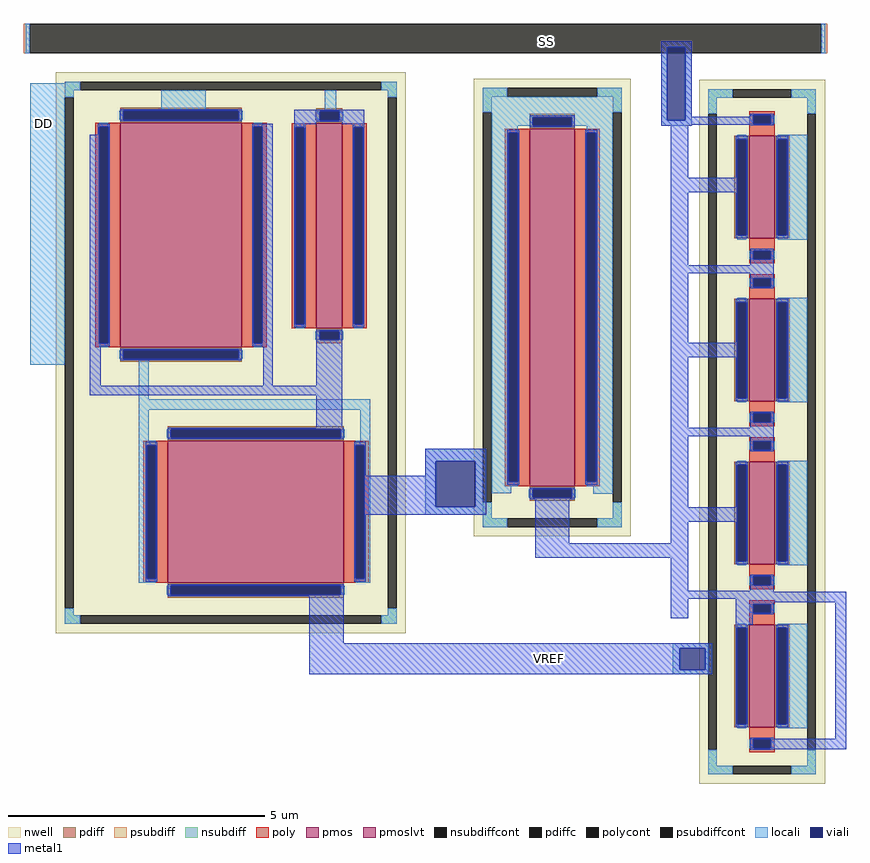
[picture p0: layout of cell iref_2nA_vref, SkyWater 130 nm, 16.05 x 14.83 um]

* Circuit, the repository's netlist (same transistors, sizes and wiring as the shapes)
* NGSPICE file created from iref_2nA_vref.ext - technology: sky130A


* Top level circuit iref_2nA_vref

X0 VREF SS SS VREF sky130_fd_pr__pfet_01v8 ad=0.58 pd=4.58 as=0.58 ps=4.58 w=2 l=0.5
X1 DD a_n1179_n2108# w_297_n2846# DD sky130_fd_pr__pfet_01v8 ad=0.687 pd=5.32 as=0.687 ps=5.32 w=2.37 l=4.38
X2 VREF SS SS VREF sky130_fd_pr__pfet_01v8 ad=0.58 pd=4.58 as=0.58 ps=4.58 w=2 l=0.5
X3 DD DD a_n1179_n2108# DD sky130_fd_pr__pfet_01v8_lvt ad=0.145 pd=1.58 as=0.145 ps=1.58 w=0.5 l=4
X4 a_n1179_n2108# w_297_n2846# VREF DD sky130_fd_pr__pfet_01v8_lvt ad=0.995 pd=7.44 as=0.995 ps=7.44 w=3.43 l=2.77
X5 VREF SS SS VREF sky130_fd_pr__pfet_01v8 ad=0.58 pd=4.58 as=0.58 ps=4.58 w=2 l=0.5
X6 w_297_n2846# w_297_n2846# SS w_297_n2846# sky130_fd_pr__pfet_01v8_lvt ad=0.255 pd=2.34 as=0.255 ps=2.34 w=0.88 l=6.97
X7 VREF SS SS VREF sky130_fd_pr__pfet_01v8 ad=0.58 pd=4.58 as=0.58 ps=4.58 w=2 l=0.5
.end

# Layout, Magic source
magic
tech sky130A
magscale 1 2
<< nwell >>
rect -1334 -3224 33 -1036
rect 297 -2846 911 -1060
rect 1177 -3811 1669 -1065
<< pmos >>
rect -1082 -2108 -608 -1232
rect 1373 -1684 1473 -1284
rect 1373 -2320 1473 -1920
rect 1373 -2956 1473 -2556
rect 1373 -3592 1473 -3192
<< pmoslvt >>
rect -316 -2034 -216 -1234
rect -896 -3028 -210 -2474
rect 516 -2650 692 -1256
<< pdiff >>
rect -1082 -1186 -608 -1174
rect -1082 -1220 -1070 -1186
rect -620 -1220 -608 -1186
rect -1082 -1232 -608 -1220
rect -316 -1188 -216 -1176
rect -316 -1222 -304 -1188
rect -228 -1222 -216 -1188
rect -316 -1234 -216 -1222
rect -316 -2046 -216 -2034
rect -316 -2080 -304 -2046
rect -228 -2080 -216 -2046
rect -316 -2092 -216 -2080
rect -1082 -2120 -608 -2108
rect -1082 -2154 -1070 -2120
rect -620 -2154 -608 -2120
rect -1082 -2166 -608 -2154
rect -896 -2428 -210 -2416
rect -896 -2462 -884 -2428
rect -222 -2462 -210 -2428
rect -896 -2474 -210 -2462
rect -896 -3040 -210 -3028
rect -896 -3074 -884 -3040
rect -222 -3074 -210 -3040
rect -896 -3086 -210 -3074
rect 516 -1210 692 -1198
rect 516 -1244 528 -1210
rect 680 -1244 692 -1210
rect 516 -1256 692 -1244
rect 516 -2662 692 -2650
rect 516 -2696 528 -2662
rect 680 -2696 692 -2662
rect 516 -2708 692 -2696
rect 1315 -1296 1373 -1284
rect 1315 -1672 1327 -1296
rect 1361 -1672 1373 -1296
rect 1315 -1684 1373 -1672
rect 1473 -1296 1531 -1284
rect 1473 -1672 1485 -1296
rect 1519 -1672 1531 -1296
rect 1473 -1684 1531 -1672
rect 1315 -1932 1373 -1920
rect 1315 -2308 1327 -1932
rect 1361 -2308 1373 -1932
rect 1315 -2320 1373 -2308
rect 1473 -1932 1531 -1920
rect 1473 -2308 1485 -1932
rect 1519 -2308 1531 -1932
rect 1473 -2320 1531 -2308
rect 1315 -2568 1373 -2556
rect 1315 -2944 1327 -2568
rect 1361 -2944 1373 -2568
rect 1315 -2956 1373 -2944
rect 1473 -2568 1531 -2556
rect 1473 -2944 1485 -2568
rect 1519 -2944 1531 -2568
rect 1473 -2956 1531 -2944
rect 1315 -3204 1373 -3192
rect 1315 -3580 1327 -3204
rect 1361 -3580 1373 -3204
rect 1315 -3592 1373 -3580
rect 1473 -3204 1531 -3192
rect 1473 -3580 1485 -3204
rect 1519 -3580 1531 -3204
rect 1473 -3592 1531 -3580
<< pdiffc >>
rect -1070 -1220 -620 -1186
rect -304 -1222 -228 -1188
rect -304 -2080 -228 -2046
rect -1070 -2154 -620 -2120
rect -884 -2462 -222 -2428
rect -884 -3074 -222 -3040
rect 528 -1244 680 -1210
rect 528 -2696 680 -2662
rect 1327 -1672 1361 -1296
rect 1485 -1672 1519 -1296
rect 1327 -2308 1361 -1932
rect 1485 -2308 1519 -1932
rect 1327 -2944 1361 -2568
rect 1485 -2944 1519 -2568
rect 1327 -3580 1361 -3204
rect 1485 -3580 1519 -3204
<< psubdiff >>
rect -1459 -962 -1435 -845
rect 1653 -962 1677 -845
<< nsubdiff >>
rect -1298 -1106 -1238 -1072
rect -63 -1106 -3 -1072
rect -1298 -1132 -1264 -1106
rect -37 -1132 -3 -1106
rect -1298 -3154 -1264 -3128
rect 333 -1130 429 -1096
rect 779 -1130 875 -1096
rect 333 -1192 367 -1130
rect 841 -1192 875 -1130
rect 333 -2776 367 -2714
rect 841 -2776 875 -2714
rect 333 -2810 429 -2776
rect 779 -2810 875 -2776
rect 1213 -1135 1309 -1101
rect 1537 -1135 1633 -1101
rect 1213 -1197 1247 -1135
rect -37 -3154 -3 -3128
rect -1298 -3188 -1238 -3154
rect -63 -3188 -3 -3154
rect 1599 -1197 1633 -1135
rect 1213 -3741 1247 -3679
rect 1599 -3741 1633 -3679
rect 1213 -3775 1309 -3741
rect 1537 -3775 1633 -3741
<< psubdiffcont >>
rect -1435 -962 1653 -845
<< nsubdiffcont >>
rect -1238 -1106 -63 -1072
rect -1298 -3128 -1264 -1132
rect -37 -3128 -3 -1132
rect 429 -1130 779 -1096
rect 333 -2714 367 -1192
rect 841 -2714 875 -1192
rect 429 -2810 779 -2776
rect 1309 -1135 1537 -1101
rect -1238 -3188 -63 -3154
rect 1213 -3679 1247 -1197
rect 1599 -3679 1633 -1197
rect 1309 -3775 1537 -3741
<< poly >>
rect -1179 -1248 -1082 -1232
rect -1179 -2092 -1163 -1248
rect -1129 -2092 -1082 -1248
rect -1179 -2108 -1082 -2092
rect -608 -1248 -511 -1232
rect -608 -2092 -561 -1248
rect -527 -2092 -511 -1248
rect -413 -1250 -316 -1234
rect -413 -2018 -397 -1250
rect -363 -2018 -316 -1250
rect -413 -2034 -316 -2018
rect -216 -1250 -119 -1234
rect -216 -2018 -169 -1250
rect -135 -2018 -119 -1250
rect -216 -2034 -119 -2018
rect -608 -2108 -511 -2092
rect -993 -2490 -896 -2474
rect -993 -3012 -977 -2490
rect -943 -3012 -896 -2490
rect -993 -3028 -896 -3012
rect -210 -2490 -113 -2474
rect -210 -3012 -163 -2490
rect -129 -3012 -113 -2490
rect -210 -3028 -113 -3012
rect 419 -1272 516 -1256
rect 419 -2634 435 -1272
rect 469 -2634 516 -1272
rect 419 -2650 516 -2634
rect 692 -1272 789 -1256
rect 692 -2634 739 -1272
rect 773 -2634 789 -1272
rect 692 -2650 789 -2634
rect 1373 -1203 1473 -1187
rect 1373 -1237 1389 -1203
rect 1457 -1237 1473 -1203
rect 1373 -1284 1473 -1237
rect 1373 -1731 1473 -1684
rect 1373 -1765 1389 -1731
rect 1457 -1765 1473 -1731
rect 1373 -1781 1473 -1765
rect 1373 -1839 1473 -1823
rect 1373 -1873 1389 -1839
rect 1457 -1873 1473 -1839
rect 1373 -1920 1473 -1873
rect 1373 -2367 1473 -2320
rect 1373 -2401 1389 -2367
rect 1457 -2401 1473 -2367
rect 1373 -2417 1473 -2401
rect 1373 -2475 1473 -2459
rect 1373 -2509 1389 -2475
rect 1457 -2509 1473 -2475
rect 1373 -2556 1473 -2509
rect 1373 -3003 1473 -2956
rect 1373 -3037 1389 -3003
rect 1457 -3037 1473 -3003
rect 1373 -3053 1473 -3037
rect 1373 -3111 1473 -3095
rect 1373 -3145 1389 -3111
rect 1457 -3145 1473 -3111
rect 1373 -3192 1473 -3145
rect 1373 -3639 1473 -3592
rect 1373 -3673 1389 -3639
rect 1457 -3673 1473 -3639
rect 1373 -3689 1473 -3673
<< polycont >>
rect -1163 -2092 -1129 -1248
rect -561 -2092 -527 -1248
rect -397 -2018 -363 -1250
rect -169 -2018 -135 -1250
rect -977 -3012 -943 -2490
rect -163 -3012 -129 -2490
rect 435 -2634 469 -1272
rect 739 -2634 773 -1272
rect 1389 -1237 1457 -1203
rect 1389 -1765 1457 -1731
rect 1389 -1873 1457 -1839
rect 1389 -2401 1457 -2367
rect 1389 -2509 1457 -2475
rect 1389 -3037 1457 -3003
rect 1389 -3145 1457 -3111
rect 1389 -3673 1457 -3639
<< locali >>
rect -1451 -962 -1435 -845
rect 1653 -962 1669 -845
rect -1298 -1078 -1238 -1072
rect -1434 -1106 -1238 -1078
rect -63 -1106 -3 -1072
rect -1434 -1132 -1264 -1106
rect -1434 -2176 -1298 -1132
rect -922 -1186 -749 -1106
rect -1086 -1220 -1070 -1186
rect -620 -1220 -604 -1186
rect -283 -1188 -239 -1106
rect -37 -1132 -3 -1106
rect -320 -1222 -304 -1188
rect -228 -1222 -212 -1188
rect -1163 -1248 -1129 -1232
rect -1163 -2108 -1129 -2092
rect -561 -1248 -527 -1232
rect -397 -1250 -363 -1234
rect -397 -2034 -363 -2018
rect -169 -1250 -135 -1234
rect -169 -2034 -135 -2018
rect -320 -2080 -304 -2046
rect -228 -2080 -212 -2046
rect -561 -2108 -527 -2092
rect -1086 -2154 -1070 -2120
rect -620 -2154 -604 -2120
rect -1009 -2312 -970 -2154
rect -1009 -2353 -106 -2312
rect -1009 -2474 -970 -2353
rect -900 -2462 -884 -2428
rect -222 -2462 -206 -2428
rect -146 -2474 -106 -2353
rect -1009 -2490 -943 -2474
rect -1009 -3012 -977 -2490
rect -1009 -3028 -943 -3012
rect -163 -2490 -106 -2474
rect -129 -3012 -106 -2490
rect -163 -3028 -106 -3012
rect -900 -3074 -884 -3040
rect -222 -3074 -206 -3040
rect -1298 -3154 -1264 -3128
rect 333 -1130 429 -1096
rect 779 -1130 875 -1096
rect 333 -1192 875 -1130
rect 108 -2554 333 -2504
rect 108 -2731 150 -2554
rect 303 -2714 333 -2554
rect 367 -1210 841 -1192
rect 367 -1244 528 -1210
rect 680 -1244 841 -1210
rect 367 -1272 469 -1244
rect 367 -2634 435 -1272
rect 367 -2650 469 -2634
rect 739 -1272 841 -1244
rect 773 -2634 841 -1272
rect 739 -2650 841 -2634
rect 367 -2678 444 -2650
rect 512 -2696 528 -2662
rect 680 -2696 696 -2662
rect 765 -2680 841 -2650
rect 303 -2731 367 -2714
rect 108 -2763 367 -2731
rect 333 -2776 367 -2763
rect 1030 -1222 1053 -962
rect 1124 -1222 1149 -962
rect 1030 -1245 1149 -1222
rect 1213 -1135 1309 -1101
rect 1537 -1135 1633 -1101
rect 1213 -1197 1247 -1135
rect 841 -2776 875 -2714
rect 333 -2810 429 -2776
rect 779 -2810 875 -2776
rect -37 -3154 -3 -3128
rect -1298 -3188 -1238 -3154
rect -63 -3188 -3 -3154
rect 1074 -3283 1213 -3263
rect 1074 -3367 1101 -3283
rect 1202 -3367 1213 -3283
rect 1074 -3385 1213 -3367
rect 1599 -1197 1633 -1135
rect 1373 -1237 1389 -1203
rect 1457 -1237 1473 -1203
rect 1327 -1296 1361 -1280
rect 1327 -1688 1361 -1672
rect 1485 -1296 1599 -1280
rect 1519 -1672 1599 -1296
rect 1485 -1688 1599 -1672
rect 1373 -1765 1389 -1731
rect 1457 -1765 1473 -1731
rect 1373 -1873 1389 -1839
rect 1457 -1873 1473 -1839
rect 1327 -1932 1361 -1916
rect 1327 -2324 1361 -2308
rect 1485 -1932 1599 -1916
rect 1519 -2308 1599 -1932
rect 1485 -2324 1599 -2308
rect 1373 -2401 1389 -2367
rect 1457 -2401 1473 -2367
rect 1373 -2509 1389 -2475
rect 1457 -2509 1473 -2475
rect 1327 -2568 1361 -2552
rect 1327 -2960 1361 -2944
rect 1485 -2568 1599 -2552
rect 1519 -2944 1599 -2568
rect 1485 -2960 1599 -2944
rect 1373 -3037 1389 -3003
rect 1457 -3037 1473 -3003
rect 1373 -3145 1389 -3111
rect 1457 -3145 1473 -3111
rect 1327 -3204 1361 -3188
rect 1327 -3596 1361 -3580
rect 1485 -3204 1599 -3188
rect 1519 -3580 1599 -3204
rect 1485 -3596 1599 -3580
rect 1373 -3673 1389 -3639
rect 1457 -3673 1473 -3639
rect 1213 -3741 1247 -3679
rect 1599 -3741 1633 -3679
rect 1213 -3775 1309 -3741
rect 1537 -3775 1633 -3741
<< viali >>
rect 1053 -962 1124 -938
rect -1070 -1220 -620 -1186
rect -304 -1222 -228 -1188
rect -1163 -2092 -1129 -1248
rect -561 -2092 -527 -1248
rect -397 -2018 -363 -1250
rect -169 -2018 -135 -1250
rect -304 -2080 -228 -2046
rect -1070 -2154 -620 -2120
rect -884 -2462 -222 -2428
rect -977 -3012 -943 -2490
rect -163 -3012 -129 -2490
rect -884 -3074 -222 -3040
rect 150 -2731 303 -2554
rect 528 -1244 680 -1210
rect 435 -2634 469 -1272
rect 739 -2634 773 -1272
rect 528 -2696 680 -2662
rect 1053 -1222 1124 -962
rect 1101 -3367 1202 -3283
rect 1389 -1237 1457 -1203
rect 1327 -1672 1361 -1296
rect 1485 -1672 1519 -1296
rect 1389 -1765 1457 -1731
rect 1389 -1873 1457 -1839
rect 1327 -2308 1361 -1932
rect 1485 -2308 1519 -1932
rect 1389 -2401 1457 -2367
rect 1389 -2509 1457 -2475
rect 1327 -2944 1361 -2568
rect 1485 -2944 1519 -2568
rect 1389 -3037 1457 -3003
rect 1389 -3145 1457 -3111
rect 1327 -3580 1361 -3204
rect 1485 -3580 1519 -3204
rect 1389 -3673 1457 -3639
<< metal1 >>
rect 1030 -938 1149 -914
rect -1082 -1186 -608 -1180
rect -1082 -1220 -1070 -1186
rect -620 -1220 -608 -1186
rect -1082 -1226 -608 -1220
rect -403 -1188 -129 -1182
rect -403 -1222 -304 -1188
rect -228 -1222 -129 -1188
rect -403 -1228 -129 -1222
rect -1169 -1248 -1123 -1236
rect -1169 -1280 -1163 -1248
rect -1200 -2092 -1163 -1280
rect -1129 -2092 -1123 -1248
rect -1200 -2104 -1123 -2092
rect -567 -1248 -486 -1236
rect -567 -2092 -561 -1248
rect -527 -2092 -486 -1248
rect -403 -1238 -316 -1228
rect -216 -1238 -129 -1228
rect -403 -1250 -357 -1238
rect -403 -2018 -397 -1250
rect -363 -2018 -357 -1250
rect -403 -2030 -357 -2018
rect -175 -1250 -129 -1238
rect 516 -1210 692 -1204
rect 516 -1244 528 -1210
rect 680 -1244 692 -1210
rect 516 -1250 692 -1244
rect 1030 -1222 1053 -938
rect 1124 -1208 1149 -938
rect 1377 -1203 1469 -1197
rect 1377 -1208 1389 -1203
rect 1124 -1222 1389 -1208
rect 1030 -1237 1389 -1222
rect 1457 -1237 1469 -1203
rect 1030 -1240 1469 -1237
rect 1030 -1245 1149 -1240
rect 1377 -1243 1469 -1240
rect -175 -2018 -169 -1250
rect -135 -2018 -129 -1250
rect -175 -2030 -129 -2018
rect 429 -1272 475 -1260
rect -567 -2104 -486 -2092
rect -1200 -2258 -1158 -2104
rect -1082 -2120 -608 -2114
rect -1082 -2154 -1070 -2120
rect -620 -2154 -608 -2120
rect -1082 -2160 -608 -2154
rect -523 -2258 -486 -2104
rect -316 -2046 -216 -2040
rect -316 -2080 -304 -2046
rect -228 -2080 -216 -2046
rect -316 -2258 -216 -2080
rect -1200 -2295 -216 -2258
rect -316 -2422 -216 -2295
rect -896 -2428 -210 -2422
rect -896 -2462 -884 -2428
rect -222 -2462 -210 -2428
rect -896 -2468 -210 -2462
rect -983 -2490 -937 -2478
rect -983 -3012 -977 -2490
rect -943 -3012 -937 -2490
rect -983 -3024 -937 -3012
rect -169 -2490 -123 -2478
rect -169 -3012 -163 -2490
rect -129 -2610 -123 -2490
rect 108 -2554 347 -2504
rect 108 -2610 150 -2554
rect -129 -2731 150 -2610
rect 303 -2731 347 -2554
rect 429 -2634 435 -1272
rect 469 -2634 475 -1272
rect 429 -2646 475 -2634
rect 733 -1272 779 -1260
rect 733 -2634 739 -1272
rect 773 -2634 779 -1272
rect 733 -2646 779 -2634
rect 1066 -1447 1135 -1245
rect 1321 -1296 1367 -1284
rect 1321 -1447 1327 -1296
rect 1066 -1504 1327 -1447
rect 1066 -1788 1135 -1504
rect 1321 -1672 1327 -1504
rect 1361 -1672 1367 -1296
rect 1321 -1684 1367 -1672
rect 1479 -1296 1525 -1284
rect 1479 -1672 1485 -1296
rect 1519 -1672 1525 -1296
rect 1479 -1684 1525 -1672
rect 1377 -1731 1469 -1725
rect 1377 -1765 1389 -1731
rect 1457 -1765 1469 -1731
rect 1377 -1788 1469 -1765
rect 1066 -1820 1469 -1788
rect 1066 -2090 1135 -1820
rect 1377 -1839 1469 -1820
rect 1377 -1873 1389 -1839
rect 1457 -1873 1469 -1839
rect 1377 -1879 1469 -1873
rect 1321 -1932 1367 -1920
rect 1321 -2090 1327 -1932
rect 1066 -2147 1327 -2090
rect 1066 -2423 1135 -2147
rect 1321 -2308 1327 -2147
rect 1361 -2308 1367 -1932
rect 1321 -2320 1367 -2308
rect 1479 -1932 1525 -1920
rect 1479 -2308 1485 -1932
rect 1519 -2308 1525 -1932
rect 1479 -2320 1525 -2308
rect 1377 -2367 1469 -2361
rect 1377 -2401 1389 -2367
rect 1457 -2401 1469 -2367
rect 1377 -2423 1469 -2401
rect 1066 -2455 1469 -2423
rect 516 -2662 692 -2656
rect 516 -2696 528 -2662
rect 680 -2696 692 -2662
rect 516 -2702 692 -2696
rect -129 -2763 347 -2731
rect -129 -3012 -123 -2763
rect 538 -2873 670 -2702
rect 1066 -2733 1135 -2455
rect 1377 -2475 1469 -2455
rect 1377 -2509 1389 -2475
rect 1457 -2509 1469 -2475
rect 1377 -2515 1469 -2509
rect 1321 -2568 1367 -2556
rect 1321 -2733 1327 -2568
rect 1066 -2790 1327 -2733
rect 1066 -2873 1135 -2790
rect 538 -2930 1135 -2873
rect -169 -3024 -123 -3012
rect -896 -3040 -210 -3034
rect -896 -3074 -884 -3040
rect -222 -3074 -210 -3040
rect -896 -3080 -210 -3074
rect -344 -3263 -210 -3080
rect 1066 -3058 1135 -2930
rect 1321 -2944 1327 -2790
rect 1361 -2944 1367 -2568
rect 1321 -2956 1367 -2944
rect 1479 -2568 1525 -2556
rect 1479 -2944 1485 -2568
rect 1519 -2944 1525 -2568
rect 1479 -2956 1525 -2944
rect 1377 -3003 1469 -2997
rect 1377 -3037 1389 -3003
rect 1457 -3037 1469 -3003
rect 1377 -3058 1469 -3037
rect 1066 -3062 1469 -3058
rect 1066 -3090 1752 -3062
rect 1066 -3167 1135 -3090
rect 1321 -3103 1752 -3090
rect 1321 -3111 1469 -3103
rect 1321 -3145 1389 -3111
rect 1457 -3145 1469 -3111
rect 1321 -3151 1469 -3145
rect 1321 -3192 1387 -3151
rect 1321 -3204 1367 -3192
rect -344 -3283 1229 -3263
rect -344 -3367 1101 -3283
rect 1202 -3367 1229 -3283
rect -344 -3385 1229 -3367
rect 1321 -3580 1327 -3204
rect 1361 -3580 1367 -3204
rect 1321 -3592 1367 -3580
rect 1479 -3204 1525 -3192
rect 1479 -3580 1485 -3204
rect 1519 -3580 1525 -3204
rect 1479 -3592 1525 -3580
rect 1377 -3636 1469 -3633
rect 1709 -3636 1752 -3103
rect 1377 -3639 1752 -3636
rect 1377 -3673 1389 -3639
rect 1457 -3673 1752 -3639
rect 1377 -3677 1752 -3673
rect 1377 -3679 1469 -3677
<< labels >>
flabel locali -1422 -1274 -1344 -1196 0 FreeSans 1600 0 0 0 DD
port 0 nsew
flabel locali 540 -952 626 -878 0 FreeSans 1600 0 0 0 SS
port 1 nsew
flabel metal1 552 -3360 638 -3286 0 FreeSans 1600 0 0 0 VREF
port 2 nsew
<< end >>
